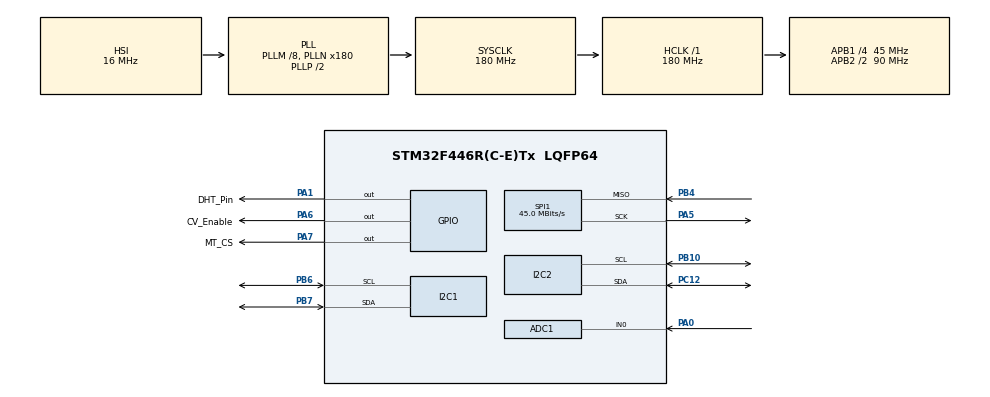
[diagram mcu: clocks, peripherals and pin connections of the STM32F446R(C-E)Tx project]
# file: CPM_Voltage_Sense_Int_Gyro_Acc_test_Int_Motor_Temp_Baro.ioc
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ADC1.Channel-0\#ChannelRegularConversion=ADC_CHANNEL_0
ADC1.ClockPrescaler=ADC_CLOCK_SYNC_PCLK_DIV8
ADC1.ContinuousConvMode=ENABLE
ADC1.DMAContinuousRequests=ENABLE
ADC1.NbrOfConversionFlag=1
ADC1.Rank-0\#ChannelRegularConversion=1
ADC1.SamplingTime-0\#ChannelRegularConversion=ADC_SAMPLETIME_3CYCLES
ADC1.master=1
Dma.ADC1.0.Direction=DMA_PERIPH_TO_MEMORY
Dma.ADC1.0.FIFOMode=DMA_FIFOMODE_DISABLE
Dma.ADC1.0.Instance=DMA2_Stream0
Dma.ADC1.0.MemDataAlignment=DMA_MDATAALIGN_HALFWORD
Dma.ADC1.0.MemInc=DMA_MINC_ENABLE
Dma.ADC1.0.Mode=DMA_CIRCULAR
Dma.ADC1.0.PeriphDataAlignment=DMA_PDATAALIGN_HALFWORD
Dma.ADC1.0.PeriphInc=DMA_PINC_DISABLE
Dma.ADC1.0.Priority=DMA_PRIORITY_LOW
Dma.Request0=ADC1
I2C2.I2C_Mode=I2C_Fast
Mcu.Family=STM32F4
Mcu.Name=STM32F446R(C-E)Tx
Mcu.Package=LQFP64
NVIC.DMA2_Stream0_IRQn=true\:0\:0\:false\:false\:true\:false\:true\:true
NVIC.PriorityGroup=NVIC_PRIORITYGROUP_4
NVIC.RCC_IRQn=true\:0\:0\:false\:false\:true\:true\:false\:true
PA0-WKUP.Signal=ADCx_IN0
PA1.GPIO_Label=DHT_Pin
PA1.Signal=GPIO_Output
PA5.Mode=RX_Only_Simplex_Unidirect_Master
PA5.Signal=SPI1_SCK
PA6.GPIO_Label=CV_Enable
PA6.GPIO_PuPd=GPIO_PULLDOWN
PA6.Signal=GPIO_Output
PA7.GPIO_Label=MT_CS
PA7.Signal=GPIO_Output
PB10.Mode=I2C
PB10.Signal=I2C2_SCL
PB4.Mode=RX_Only_Simplex_Unidirect_Master
PB4.Signal=SPI1_MISO
PB6.Mode=I2C
PB6.Signal=I2C1_SCL
PB7.Mode=I2C
PB7.Signal=I2C1_SDA
PC12.Mode=I2C
PC12.Signal=I2C2_SDA
PC14-OSC32_IN.Mode=LSE-External-Oscillator
PC14-OSC32_IN.Signal=RCC_OSC32_IN
PC15-OSC32_OUT.Mode=LSE-External-Oscillator
PC15-OSC32_OUT.Signal=RCC_OSC32_OUT
PH0-OSC_IN.Mode=HSE-External-Oscillator
PH0-OSC_IN.Signal=RCC_OSC_IN
PH1-OSC_OUT.Mode=HSE-External-Oscillator
PH1-OSC_OUT.Signal=RCC_OSC_OUT
ProjectManager.HeapSize=0x200
ProjectManager.StackSize=0x400
ProjectManager.TargetToolchain=STM32CubeIDE
RCC.AHBFreq_Value=180000000
RCC.APB1CLKDivider=RCC_HCLK_DIV4
RCC.APB1Freq_Value=45000000
RCC.APB1TimFreq_Value=90000000
RCC.APB2CLKDivider=RCC_HCLK_DIV2
RCC.APB2Freq_Value=90000000
RCC.APB2TimFreq_Value=180000000
RCC.CortexFreq_Value=180000000
RCC.HCLKFreq_Value=180000000
RCC.HSE_VALUE=8000000
RCC.PLLM=8
RCC.PLLN=180
RCC.SYSCLKFreq_VALUE=180000000
RCC.SYSCLKSource=RCC_SYSCLKSOURCE_PLLCLK
RCC.USBFreq_Value=180000000
RCC.VCOOutputFreq_Value=360000000
SH.ADCx_IN0.0=ADC1_IN0,IN0
SPI1.CalculateBaudRate=45.0 MBits/s
SPI1.Direction=SPI_DIRECTION_2LINES_RXONLY
SPI1.Mode=SPI_MODE_MASTER
SPI1.VirtualType=VM_MASTER
TIM1.Prescaler=45000
VP_TIM1_VS_ClockSourceINT.Mode=Internal
board=custom

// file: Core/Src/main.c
/* USER CODE BEGIN Header */
/**
  ******************************************************************************
  * @file           : main.c
  * @brief          : Main program body
  ******************************************************************************
  * @attention
  *
  * Copyright (c) 2023 STMicroelectronics.
  * All rights reserved.
  *
  * This software is licensed under terms that can be found in the LICENSE file
  * in the root directory of this software component.
  * If no LICENSE file comes with this software, it is provided AS-IS.
  *
  ******************************************************************************
  */
/* USER CODE END Header */
#include "main.h"

/* USER CODE BEGIN Includes */
#include <stdbool.h>
#include "mpu6050.h"
#include "MAX6675.h"
#include "BMP180.h"
#include "DHT.h"

/* USER CODE END Includes */

/* USER CODE BEGIN PD */
#define CV_En_Pin GPIO_PIN_6
/* USER CODE END PD */

ADC_HandleTypeDef hadc1;
DMA_HandleTypeDef hdma_adc1;

I2C_HandleTypeDef hi2c1;
I2C_HandleTypeDef hi2c2;

SPI_HandleTypeDef hspi1;

TIM_HandleTypeDef htim1;

/* USER CODE BEGIN PV */
float Ax, Ay, Az, Gx, Gy, Gz;

uint8_t err_gyro = 0;
/* USER CODE END PV */

void SystemClock_Config(void);
static void MX_GPIO_Init(void);
static void MX_DMA_Init(void);
static void MX_ADC1_Init(void);
static void MX_I2C1_Init(void);
static void MX_SPI1_Init(void);
static void MX_TIM1_Init(void);
static void MX_I2C2_Init(void);

/* USER CODE BEGIN 0 */
	float CpmVoltage = 5.6;
	bool CV_Voltage_ui=0;

	float temperature;
	uint16_t timer_val=0;

	//Barometer_Sensor
	float Temperature2;
	float Pressure;
	float Altitude;

	//DHT22 Temperature Sensor
	DHT_DataTypedef DHT22_Data;
	float Temperature1, Humidity;
/* USER CODE END 0 */

int main(void)
{

  /* MCU Configuration--------------------------------------------------------*/

  /* Reset of all peripherals, Initializes the Flash interface and the Systick. */
  HAL_Init();

  /* Configure the system clock */
  SystemClock_Config();

  /* Initialize all configured peripherals */
  MX_GPIO_Init();
  MX_DMA_Init();
  MX_ADC1_Init();
  MX_I2C1_Init();
  MX_SPI1_Init();
  MX_TIM1_Init();
  MX_I2C2_Init();
  /* USER CODE BEGIN 2 */
  HAL_ADC_Init(&hadc1);
  MPU6050_Init();
  BMP180_Start();

  void barometer_sensor()
  {
  	  Temperature2 = BMP180_GetTemp();
  	  Pressure = BMP180_GetPress(0);
  	  Altitude = BMP180_GetAlt(0);
  }

  void dht22_sensor()
  {
  	DHT_GetData(&DHT22_Data);
  	Temperature1 =((float)DHT22_Data.Temperature)/10.0;
  	Humidity = ((float)DHT22_Data.Humidity)/10.0;
  }

  /* USER CODE END 2 */

  /* Infinite loop */
  /* USER CODE BEGIN WHILE */
  while (1)
  {
	  temperature=Max6675_Read_Temp();

	  barometer_sensor();

	  MPU6050_Read_Accel (&Ax, &Ay, &Az);
	  MPU6050_Read_Gyro(&Gx, &Gy, &Gz);
	  //HAL_Delay(250);

	  dht22_sensor();

	  HAL_GPIO_WritePin(GPIOA, CV_En_Pin, CV_Voltage_ui);
	  HAL_ADC_Start(&hadc1);
	  CpmVoltage = HAL_ADC_GetValue(&hadc1)*(5.0/4096.0);
	  HAL_Delay(100);
	  HAL_ADC_Stop(&hadc1);
	  HAL_Delay(100);

    /* USER CODE END WHILE */

  }
}

void SystemClock_Config(void)
{
  RCC_OscInitTypeDef RCC_OscInitStruct = {0};
  RCC_ClkInitTypeDef RCC_ClkInitStruct = {0};

  /** Configure the main internal regulator output voltage
  */
  __HAL_RCC_PWR_CLK_ENABLE();
  __HAL_PWR_VOLTAGESCALING_CONFIG(PWR_REGULATOR_VOLTAGE_SCALE1);

  /** Initializes the RCC Oscillators according to the specified parameters
  * in the RCC_OscInitTypeDef structure.
  */
  RCC_OscInitStruct.OscillatorType = RCC_OSCILLATORTYPE_HSI;
  RCC_OscInitStruct.HSIState = RCC_HSI_ON;
  RCC_OscInitStruct.HSICalibrationValue = RCC_HSICALIBRATION_DEFAULT;
  RCC_OscInitStruct.PLL.PLLState = RCC_PLL_ON;
  RCC_OscInitStruct.PLL.PLLSource = RCC_PLLSOURCE_HSI;
  RCC_OscInitStruct.PLL.PLLM = 8;
  RCC_OscInitStruct.PLL.PLLN = 180;
  RCC_OscInitStruct.PLL.PLLP = RCC_PLLP_DIV2;
  RCC_OscInitStruct.PLL.PLLQ = 2;
  RCC_OscInitStruct.PLL.PLLR = 2;
  if (HAL_RCC_OscConfig(&RCC_OscInitStruct) != HAL_OK)
  {
    Error_Handler();
  }

  /** Activate the Over-Drive mode
  */
  if (HAL_PWREx_EnableOverDrive() != HAL_OK)
  {
    Error_Handler();
  }

  /** Initializes the CPU, AHB and APB buses clocks
  */
  RCC_ClkInitStruct.ClockType = RCC_CLOCKTYPE_HCLK|RCC_CLOCKTYPE_SYSCLK
                              |RCC_CLOCKTYPE_PCLK1|RCC_CLOCKTYPE_PCLK2;
  RCC_ClkInitStruct.SYSCLKSource = RCC_SYSCLKSOURCE_PLLCLK;
  RCC_ClkInitStruct.AHBCLKDivider = RCC_SYSCLK_DIV1;
  RCC_ClkInitStruct.APB1CLKDivider = RCC_HCLK_DIV4;
  RCC_ClkInitStruct.APB2CLKDivider = RCC_HCLK_DIV2;

  if (HAL_RCC_ClockConfig(&RCC_ClkInitStruct, FLASH_LATENCY_5) != HAL_OK)
  {
    Error_Handler();
  }
}

static void MX_ADC1_Init(void)
{

  ADC_ChannelConfTypeDef sConfig = {0};

  /** Configure the global features of the ADC (Clock, Resolution, Data Alignment and number of conversion)
  */
  hadc1.Instance = ADC1;
  hadc1.Init.ClockPrescaler = ADC_CLOCK_SYNC_PCLK_DIV8;
  hadc1.Init.Resolution = ADC_RESOLUTION_12B;
  hadc1.Init.ScanConvMode = DISABLE;
  hadc1.Init.ContinuousConvMode = ENABLE;
  hadc1.Init.DiscontinuousConvMode = DISABLE;
  hadc1.Init.ExternalTrigConvEdge = ADC_EXTERNALTRIGCONVEDGE_NONE;
  hadc1.Init.ExternalTrigConv = ADC_SOFTWARE_START;
  hadc1.Init.DataAlign = ADC_DATAALIGN_RIGHT;
  hadc1.Init.NbrOfConversion = 1;
  hadc1.Init.DMAContinuousRequests = ENABLE;
  hadc1.Init.EOCSelection = ADC_EOC_SINGLE_CONV;
  if (HAL_ADC_Init(&hadc1) != HAL_OK)
  {
    Error_Handler();
  }

  /** Configure for the selected ADC regular channel its corresponding rank in the sequencer and its sample time.
  */
  sConfig.Channel = ADC_CHANNEL_0;
  sConfig.Rank = 1;
  sConfig.SamplingTime = ADC_SAMPLETIME_3CYCLES;
  if (HAL_ADC_ConfigChannel(&hadc1, &sConfig) != HAL_OK)
  {
    Error_Handler();
  }

}

static void MX_I2C1_Init(void)
{

  hi2c1.Instance = I2C1;
  hi2c1.Init.ClockSpeed = 100000;
  hi2c1.Init.DutyCycle = I2C_DUTYCYCLE_2;
  hi2c1.Init.OwnAddress1 = 0;
  hi2c1.Init.AddressingMode = I2C_ADDRESSINGMODE_7BIT;
  hi2c1.Init.DualAddressMode = I2C_DUALADDRESS_DISABLE;
  hi2c1.Init.OwnAddress2 = 0;
  hi2c1.Init.GeneralCallMode = I2C_GENERALCALL_DISABLE;
  hi2c1.Init.NoStretchMode = I2C_NOSTRETCH_DISABLE;
  if (HAL_I2C_Init(&hi2c1) != HAL_OK)
  {
    Error_Handler();
  }

}

static void MX_I2C2_Init(void)
{

  hi2c2.Instance = I2C2;
  hi2c2.Init.ClockSpeed = 400000;
  hi2c2.Init.DutyCycle = I2C_DUTYCYCLE_2;
  hi2c2.Init.OwnAddress1 = 0;
  hi2c2.Init.AddressingMode = I2C_ADDRESSINGMODE_7BIT;
  hi2c2.Init.DualAddressMode = I2C_DUALADDRESS_DISABLE;
  hi2c2.Init.OwnAddress2 = 0;
  hi2c2.Init.GeneralCallMode = I2C_GENERALCALL_DISABLE;
  hi2c2.Init.NoStretchMode = I2C_NOSTRETCH_DISABLE;
  if (HAL_I2C_Init(&hi2c2) != HAL_OK)
  {
    Error_Handler();
  }

}

static void MX_SPI1_Init(void)
{

  /* SPI1 parameter configuration*/
  hspi1.Instance = SPI1;
  hspi1.Init.Mode = SPI_MODE_MASTER;
  hspi1.Init.Direction = SPI_DIRECTION_2LINES_RXONLY;
  hspi1.Init.DataSize = SPI_DATASIZE_8BIT;
  hspi1.Init.CLKPolarity = SPI_POLARITY_LOW;
  hspi1.Init.CLKPhase = SPI_PHASE_1EDGE;
  hspi1.Init.NSS = SPI_NSS_SOFT;
  hspi1.Init.BaudRatePrescaler = SPI_BAUDRATEPRESCALER_2;
  hspi1.Init.FirstBit = SPI_FIRSTBIT_MSB;
  hspi1.Init.TIMode = SPI_TIMODE_DISABLE;
  hspi1.Init.CRCCalculation = SPI_CRCCALCULATION_DISABLE;
  hspi1.Init.CRCPolynomial = 10;
  if (HAL_SPI_Init(&hspi1) != HAL_OK)
  {
    Error_Handler();
  }

}

static void MX_TIM1_Init(void)
{

  TIM_ClockConfigTypeDef sClockSourceConfig = {0};
  TIM_MasterConfigTypeDef sMasterConfig = {0};

  htim1.Instance = TIM1;
  htim1.Init.Prescaler = 45000;
  htim1.Init.CounterMode = TIM_COUNTERMODE_UP;
  htim1.Init.Period = 65535;
  htim1.Init.ClockDivision = TIM_CLOCKDIVISION_DIV1;
  htim1.Init.RepetitionCounter = 0;
  htim1.Init.AutoReloadPreload = TIM_AUTORELOAD_PRELOAD_DISABLE;
  if (HAL_TIM_Base_Init(&htim1) != HAL_OK)
  {
    Error_Handler();
  }
  sClockSourceConfig.ClockSource = TIM_CLOCKSOURCE_INTERNAL;
  if (HAL_TIM_ConfigClockSource(&htim1, &sClockSourceConfig) != HAL_OK)
  {
    Error_Handler();
  }
  sMasterConfig.MasterOutputTrigger = TIM_TRGO_RESET;
  sMasterConfig.MasterSlaveMode = TIM_MASTERSLAVEMODE_DISABLE;
  if (HAL_TIMEx_MasterConfigSynchronization(&htim1, &sMasterConfig) != HAL_OK)
  {
    Error_Handler();
  }

}

static void MX_DMA_Init(void)
{

  /* DMA controller clock enable */
  __HAL_RCC_DMA2_CLK_ENABLE();

  /* DMA interrupt init */
  /* DMA2_Stream0_IRQn interrupt configuration */
  HAL_NVIC_SetPriority(DMA2_Stream0_IRQn, 0, 0);
  HAL_NVIC_EnableIRQ(DMA2_Stream0_IRQn);

}

static void MX_GPIO_Init(void)
{
  GPIO_InitTypeDef GPIO_InitStruct = {0};

  /* GPIO Ports Clock Enable */
  __HAL_RCC_GPIOC_CLK_ENABLE();
  __HAL_RCC_GPIOH_CLK_ENABLE();
  __HAL_RCC_GPIOA_CLK_ENABLE();
  __HAL_RCC_GPIOB_CLK_ENABLE();

  /*Configure GPIO pin Output Level */
  HAL_GPIO_WritePin(GPIOA, DHT_Pin_Pin|CV_Enable_Pin|MT_CS_Pin, GPIO_PIN_RESET);

  /*Configure GPIO pins : DHT_Pin_Pin MT_CS_Pin */
  GPIO_InitStruct.Pin = DHT_Pin_Pin|MT_CS_Pin;
  GPIO_InitStruct.Mode = GPIO_MODE_OUTPUT_PP;
  GPIO_InitStruct.Pull = GPIO_NOPULL;
  GPIO_InitStruct.Speed = GPIO_SPEED_FREQ_LOW;
  HAL_GPIO_Init(GPIOA, &GPIO_InitStruct);

  /*Configure GPIO pin : CV_Enable_Pin */
  GPIO_InitStruct.Pin = CV_Enable_Pin;
  GPIO_InitStruct.Mode = GPIO_MODE_OUTPUT_PP;
  GPIO_InitStruct.Pull = GPIO_PULLDOWN;
  GPIO_InitStruct.Speed = GPIO_SPEED_FREQ_LOW;
  HAL_GPIO_Init(CV_Enable_GPIO_Port, &GPIO_InitStruct);

}

/* USER CODE BEGIN 4 */
int _write(int file, char *ptr, int len)
{
	int DataIdx;

	for (DataIdx = 0; DataIdx < len; DataIdx++)
	{
		ITM_SendChar(*ptr++);
	}
	return len;
}
/* USER CODE END 4 */

void Error_Handler(void)
{
  __disable_irq();
  while (1)
  {
  }
}
